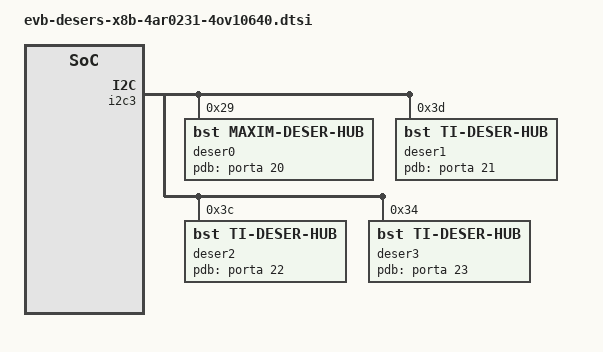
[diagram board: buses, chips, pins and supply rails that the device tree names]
/*
   default deser config for evb
   deser0@i2c2 0x30:    ti960
   deser1@i2c2 0x32:    ti960
   deser2@i2c2 0x34:    ti960
*/

&i2c3 {
    #address-cells = <1>;
    #size-cells = <0>;

    deser0: max96712@29 {
        compatible = "bst,maxim-deser-hub";
        type = "max96712";
        ctl-mode = "evb";
        reg = <0x29>;
        i2c-port = <0>;
        csi2-port = <0>;
        lane-speed = <1600>;
        regs = <0x40>;
        data-type = <0x2d>;
        trigger-mode = <0>;                 /*0:default,1:internal,2:external*/
        trigger-fps = <30>;
        trigger-rx-gpio = <1>;
        maxim,hsync-invert = <0>;
        maxim,vsync-invert = <0>;
        maxim,linkrx-rate = <6 6 6 6>;      /*linka gpbs,linkb gpbs,linkc gpbs,linkd gpbs*/
        maxim,link-mode = "GMSL2";
        pdb-gpio = <&porta 20 0>;
    };

    deser1: ti960@3d {
        compatible = "bst,ti-deser-hub";
        type = "ti960";
        ctl-mode = "evb";
        reg = <0x3d>;
        i2c-port = <0>;
        csi2-port = <0>;
        lane-speed = <1600>;
        trigger-mode = <1>;                 /*0:default,1:internal,2:external*/
        trigger-fps = <22>;
        trigger-tx-gpio = <1>;
        trigger-rx-gpio = <1>;
        pdb-gpio = <&porta 21 0>;
    };

    deser2: ti960@3c {
        compatible = "bst,ti-deser-hub";
        type = "ti960";
        ctl-mode = "evb";
        reg = <0x3c>;
        i2c-port = <0>;
        csi2-port = <0>;
        lane-speed = <1600>;
        trigger-mode = <1>;                 /*0:default,1:internal,2:external*/
        trigger-fps = <30>;
        trigger-tx-gpio = <1>;
        trigger-rx-gpio = <1>;
        pdb-gpio = <&porta 22 0>;
    };

    deser3: ti960@34 {
        compatible = "bst,ti-deser-hub";
        type = "ti960";
        ctl-mode = "evb";
        reg = <0x34>;
        i2c-port = <0>;
        csi2-port = <0>;
        lane-speed = <1600>;
        pdb-gpio = <&porta 23 0>;
    };
};

#include "../common/a1000b-deser.dtsi"
